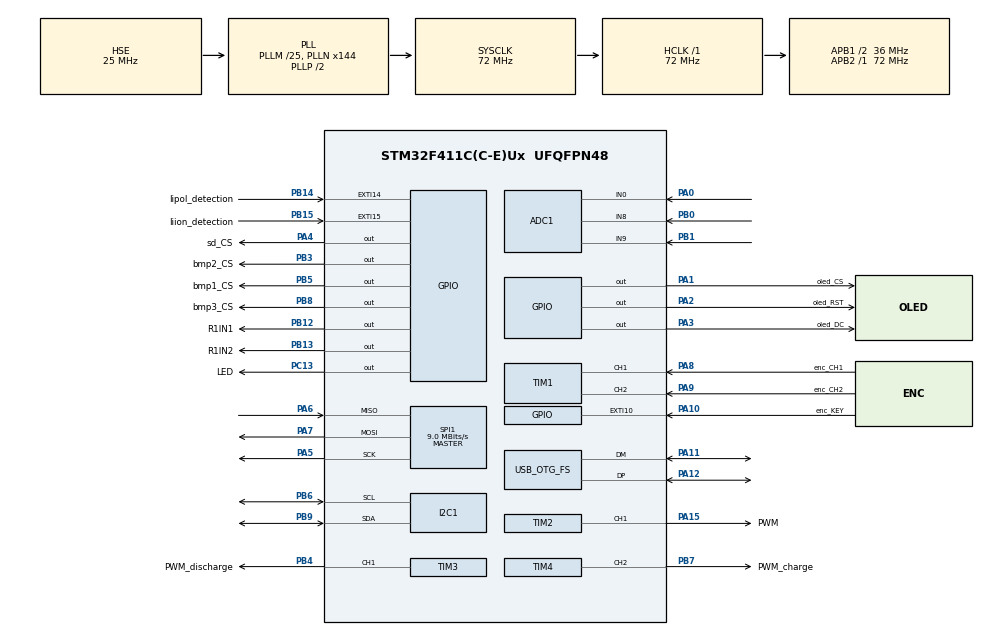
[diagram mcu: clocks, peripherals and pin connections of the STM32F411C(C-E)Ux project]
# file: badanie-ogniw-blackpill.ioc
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ADC1.Channel-0\#ChannelRegularConversion=ADC_CHANNEL_8
ADC1.Channel-1\#ChannelRegularConversion=ADC_CHANNEL_9
ADC1.DiscontinuousConvMode=ENABLE
ADC1.NbrOfConversion=2
ADC1.NbrOfConversionFlag=1
ADC1.Rank-0\#ChannelRegularConversion=1
ADC1.Rank-1\#ChannelRegularConversion=2
ADC1.SamplingTime-0\#ChannelRegularConversion=ADC_SAMPLETIME_15CYCLES
ADC1.SamplingTime-1\#ChannelRegularConversion=ADC_SAMPLETIME_15CYCLES
ADC1.master=1
Dma.Request0=SPI1_TX
Dma.SPI1_TX.0.Direction=DMA_MEMORY_TO_PERIPH
Dma.SPI1_TX.0.FIFOMode=DMA_FIFOMODE_DISABLE
Dma.SPI1_TX.0.Instance=DMA2_Stream2
Dma.SPI1_TX.0.MemDataAlignment=DMA_MDATAALIGN_BYTE
Dma.SPI1_TX.0.MemInc=DMA_MINC_ENABLE
Dma.SPI1_TX.0.Mode=DMA_NORMAL
Dma.SPI1_TX.0.PeriphDataAlignment=DMA_PDATAALIGN_BYTE
Dma.SPI1_TX.0.PeriphInc=DMA_PINC_DISABLE
Dma.SPI1_TX.0.Priority=DMA_PRIORITY_LOW
FATFS._FS_EXFAT=1
FATFS._MAX_SS=4096
FATFS._USE_LFN=1
Mcu.Family=STM32F4
Mcu.Name=STM32F411C(C-E)Ux
Mcu.Package=UFQFPN48
NVIC.DMA2_Stream2_IRQn=true\:0\:0\:false\:false\:true\:false\:true\:true
NVIC.EXTI15_10_IRQn=true\:0\:0\:false\:false\:true\:true\:true\:true
NVIC.OTG_FS_IRQn=true\:0\:0\:false\:false\:true\:false\:true\:true
NVIC.PriorityGroup=NVIC_PRIORITYGROUP_4
NVIC.SPI1_IRQn=true\:0\:0\:false\:false\:true\:true\:true\:true
NVIC.TIM1_CC_IRQn=true\:0\:0\:false\:false\:true\:true\:true\:true
NVIC.TIM1_TRG_COM_TIM11_IRQn=true\:0\:0\:false\:false\:true\:true\:true\:true
NVIC.TIM4_IRQn=true\:0\:0\:false\:false\:true\:true\:true\:true
PA0-WKUP.Signal=ADCx_IN0
PA1.GPIO_Label=oled_CS
PA1.GPIO_PuPd=GPIO_PULLUP
PA1.PinState=GPIO_PIN_SET
PA1.Signal=GPIO_Output
PA10.GPIO_Label=enc_KEY
PA10.GPIO_ModeDefaultEXTI=GPIO_MODE_IT_FALLING
PA10.GPIO_PuPd=GPIO_PULLUP
PA10.Signal=GPXTI10
PA11.Mode=Device_Only
PA11.Signal=USB_OTG_FS_DM
PA12.Mode=Device_Only
PA12.Signal=USB_OTG_FS_DP
PA13.Mode=Serial_Wire
PA13.Signal=SYS_JTMS-SWDIO
PA14.Mode=Serial_Wire
PA14.Signal=SYS_JTCK-SWCLK
PA15.GPIO_Label=PWM
PA15.Signal=S_TIM2_CH1_ETR
PA2.GPIO_Label=oled_RST
PA2.Signal=GPIO_Output
PA3.GPIO_Label=oled_DC
PA3.Signal=GPIO_Output
PA4.GPIO_Label=sd_CS
PA4.GPIO_PuPd=GPIO_PULLUP
PA4.GPIO_Speed=GPIO_SPEED_FREQ_HIGH
PA4.PinState=GPIO_PIN_SET
PA4.Signal=GPIO_Output
PA5.Mode=Full_Duplex_Master
PA5.Signal=SPI1_SCK
PA6.Mode=Full_Duplex_Master
PA6.Signal=SPI1_MISO
PA7.Mode=Full_Duplex_Master
PA7.Signal=SPI1_MOSI
PA8.GPIO_Label=enc_CH1
PA8.Signal=S_TIM1_CH1
PA9.GPIO_Label=enc_CH2
PA9.Signal=S_TIM1_CH2
PB0.Signal=ADCx_IN8
PB1.Signal=ADCx_IN9
PB12.GPIO_Label=R1IN1
PB12.GPIO_PuPd=GPIO_PULLDOWN
PB12.PinState=GPIO_PIN_RESET
PB12.Signal=GPIO_Output
PB13.GPIO_Label=R1IN2
PB13.GPIO_PuPd=GPIO_PULLDOWN
PB13.PinState=GPIO_PIN_RESET
PB13.Signal=GPIO_Output
PB14.GPIO_Label=lipol_detection
PB14.GPIO_PuPd=GPIO_PULLUP
PB14.Signal=GPXTI14
PB15.GPIO_Label=liion_detection
PB15.GPIO_PuPd=GPIO_PULLUP
PB15.Signal=GPXTI15
PB3.GPIO_Label=bmp2_CS
PB3.GPIO_PuPd=GPIO_PULLUP
PB3.PinState=GPIO_PIN_SET
PB3.Signal=GPIO_Output
PB4.GPIO_Label=PWM_discharge
PB4.Signal=S_TIM3_CH1
PB5.GPIO_Label=bmp1_CS
PB5.GPIO_PuPd=GPIO_PULLUP
PB5.PinState=GPIO_PIN_SET
PB5.Signal=GPIO_Output
PB6.Mode=I2C
PB6.Signal=I2C1_SCL
PB7.GPIO_Label=PWM_charge
PB7.Signal=S_TIM4_CH2
PB8.GPIO_Label=bmp3_CS
PB8.GPIO_PuPd=GPIO_PULLUP
PB8.PinState=GPIO_PIN_SET
PB8.Signal=GPIO_Output
PB9.Mode=I2C
PB9.Signal=I2C1_SDA
PC13-ANTI_TAMP.GPIO_Label=LED
PC13-ANTI_TAMP.GPIO_PuPd=GPIO_NOPULL
PC13-ANTI_TAMP.PinState=GPIO_PIN_SET
PC13-ANTI_TAMP.Signal=GPIO_Output
PH0\ -\ OSC_IN.Mode=HSE-External-Oscillator
PH0\ -\ OSC_IN.Signal=RCC_OSC_IN
PH1\ -\ OSC_OUT.Mode=HSE-External-Oscillator
PH1\ -\ OSC_OUT.Signal=RCC_OSC_OUT
ProjectManager.HeapSize=0x200
ProjectManager.StackSize=0x400
ProjectManager.TargetToolchain=STM32CubeIDE
RCC.48MHZClocksFreq_Value=48000000
RCC.AHBFreq_Value=72000000
RCC.APB1CLKDivider=RCC_HCLK_DIV2
RCC.APB1Freq_Value=36000000
RCC.APB1TimFreq_Value=72000000
RCC.APB2Freq_Value=72000000
RCC.APB2TimFreq_Value=72000000
RCC.CortexFreq_Value=72000000
RCC.HCLKFreq_Value=72000000
RCC.HSE_VALUE=25000000
RCC.HSI_VALUE=16000000
RCC.LSE_VALUE=32768
RCC.PLLM=25
RCC.PLLN=144
RCC.PLLQ=3
RCC.SYSCLKFreq_VALUE=72000000
RCC.SYSCLKSource=RCC_SYSCLKSOURCE_PLLCLK
RCC.VCOOutputFreq_Value=144000000
SH.ADCx_IN0.0=ADC1_IN0,IN0
SH.ADCx_IN8.0=ADC1_IN8,IN8
SH.ADCx_IN9.0=ADC1_IN9,IN9
SH.S_TIM1_CH1.0=TIM1_CH1,Encoder_Interface
SH.S_TIM1_CH2.0=TIM1_CH2,Encoder_Interface
SH.S_TIM2_CH1_ETR.0=TIM2_CH1,PWM Generation1 CH1
SH.S_TIM3_CH1.0=TIM3_CH1,PWM Generation1 CH1
SH.S_TIM4_CH2.0=TIM4_CH2,PWM Generation2 CH2
SPI1.BaudRatePrescaler=SPI_BAUDRATEPRESCALER_8
SPI1.CalculateBaudRate=9.0 MBits/s
SPI1.Direction=SPI_DIRECTION_2LINES
SPI1.Mode=SPI_MODE_MASTER
SPI1.VirtualType=VM_MASTER
TIM1.EncoderMode=TIM_ENCODERMODE_TI12
TIM1.IC1Polarity=TIM_ICPOLARITY_FALLING
TIM1.IC2Polarity=TIM_ICPOLARITY_FALLING
TIM11.Period=499
TIM11.Prescaler=7199
TIM2.Channel-PWM\ Generation1\ CH1=TIM_CHANNEL_1
TIM2.Period=199
TIM2.Prescaler=71
TIM3.Channel-PWM\ Generation1\ CH1=TIM_CHANNEL_1
TIM3.Period=199
TIM3.Prescaler=71
TIM4.Channel-PWM\ Generation2\ CH2=TIM_CHANNEL_2
TIM4.Period=19999
TIM4.Prescaler=7199
USB_DEVICE.CLASS_NAME_FS=CDC
USB_DEVICE.VirtualMode=Cdc
USB_DEVICE.VirtualModeFS=Cdc_FS
USB_OTG_FS.VirtualMode=Device_Only
VP_FATFS_VS_Generic.Mode=User_defined
VP_TIM11_VS_ClockSourceINT.Mode=Enable_Timer
VP_TIM3_VS_ClockSourceINT.Mode=Internal
VP_TIM4_VS_ClockSourceINT.Mode=Internal
VP_USB_DEVICE_VS_USB_DEVICE_CDC_FS.Mode=CDC_FS
board=custom

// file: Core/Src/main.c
/* USER CODE BEGIN Header */
/**
  ******************************************************************************
  * @file           : main.c
  * @brief          : Main program body
  ******************************************************************************
  * @attention
  *
  * Copyright (c) 2025 STMicroelectronics.
  * All rights reserved.
  *
  * This software is licensed under terms that can be found in the LICENSE file
  * in the root directory of this software component.
  * If no LICENSE file comes with this software, it is provided AS-IS.
  *
  ******************************************************************************
  */

/* USER CODE END Header */
#include "main.h"
#include "adc.h"
#include "dma.h"
#include "fatfs.h"
#include "i2c.h"
#include "spi.h"
#include "tim.h"
#include "usb_device.h"
#include "gpio.h"

/* USER CODE BEGIN Includes */
#include "usbd_cdc_if.h"
#include "sensors/printf_to_uart.h"
#include "sensors/ILI9341_STM32_Driver.h"
#include "sensors/ILI9341_GFX.h"
#include "sensors/fonts.h"
#include "sensors/BMPXX80.h"
#include "sensors/sensirion_common.h"
#include "sensors/sgp30.h"
#include "logic/user_SDcard.h"
#include "logic/user_OLED.h"
#include "logic/user_fnc.h"

/* USER CODE END Includes */

/* USER CODE BEGIN PV */
struct state st = {
	.current_screen_type = MENU_MAIN,
	.menu_current_ptr = MENU_START,
	.sensor_current = SENSOR_FIRST,
	.battery_state = BATTERY_IDLE,  // BATTERY_IDLE = 0, BATTERY_CHARGING = 1, BATTERY_DISCHARGING = 2
	.auto_mode_current = AUTO_MODE,  // AUTO_MODE = 0, MANUAL_MODE = 1

	.screen_menu_ptr = 0,
	.screen_menu_current = 0,
	.battery_ptr = 0,
	.battery_current = 0,
	.status_ptr = 0,     // BATTERY_IDLE = 0, BATTERY_CHARGING = 1, BATTERY_DISCHARGING = 2
	.status_current = 0, // BATTERY_IDLE = 0, BATTERY_CHARGING = 1, BATTERY_DISCHARGING = 2
	.auto_mode_ptr = 0,     // AUTO_MODE = 0, MANUAL_MODE = 1
	.auto_mode_current = 0, // AUTO_MODE = 0, MANUAL_MODE = 1
	.enc_count = 0,
	.prev_enc_count = 0,
	.enc_offset = 0,
    .set_current_discharge = 0,      // prad rozłaowywania
    .set_current_discharge_prev = 0, // prad rozłaowywania
    .set_current_charge = 0,
    .set_current_charge_prev = 0,
    .get_current_charge = 0,
    .charge_end_current = 0.1,      // minimalny prad ladowania
    .charge_end_current_prev = 0.1, // minimalny prad ladowania
    .discharge_cutoff_voltage = 3.0,      // minimalne napiecie rozladowywania
    .discharge_cutoff_voltage_prev = 3.0, // minimalne napiecie rozladowywania

	.is_screen_menu = true,
	.screen_clear = true,
};
struct sensors s = {0};

const char* menu[SCREENS_MENU_NUM] = {
	"Start",
	//"Typ baterii",
	//"Prad adowania",
	"Min. prad adowania",
	"Min. napiecie roz.",
	"Prad rozadowania",
	"Status",
	"Tryb",
	"Stop"
};

const char* batteries[BATERYS_NUM] = {
	"Brak ogniwa",
	"Li-Ion",
	"Li-Pol"

};

const char* status[STATUS_NUM] = {
	"Bezczynny",
	"Ladowanie",
	"Rozadow."
};
const char* auto_mode[AUTO_MODE_NUM] = {
	"Automatyczny",
	"Jednorazowy"
};

/* USER CODE END PV */

void SystemClock_Config(void);

int main(void)
{

  /* MCU Configuration--------------------------------------------------------*/

  /* Reset of all peripherals, Initializes the Flash interface and the Systick. */
  HAL_Init();

  /* Configure the system clock */
  SystemClock_Config();

  /* Initialize all configured peripherals */
  MX_GPIO_Init();
  MX_DMA_Init();
  MX_ADC1_Init();
  MX_I2C1_Init();
  MX_SPI1_Init();
  MX_USB_DEVICE_Init();
  MX_TIM3_Init();
  MX_TIM4_Init();
  MX_FATFS_Init();
  MX_TIM1_Init();
  MX_TIM2_Init();
  MX_TIM11_Init();
  /* USER CODE BEGIN 2 */
	// OLED
  	HAL_GPIO_WritePin(GPIOC, GPIO_PIN_13, 0);

	ILI9341_Init();
	ILI9341_FillScreen(WHITE);

	// BMP x3
	for (uint8_t index = 0; index < BME_SENSOR_COUNT ; ++index) {
		if (!BME280_Init(&hspi1, BME280_TEMPERATURE_16BIT, BME280_PRESSURE_ULTRALOWPOWER, BME280_HUMINIDITY_ULTRAHIGH, BME280_FORCEDMODE, index)) {
			LOG_DEBUG("BMP280 sensor error\r\n");
		}
		else{
			LOG_DEBUG("BMP280 sensor ok\r\n");
		}
	}

	// SGP
	if (sgp_probe() != STATUS_OK) {
		LOG_DEBUG("SGP sensor error\r\n");
	}
	else {
		LOG_DEBUG("SGP sensor ok\r\n");
	}

	// TIMER
	HAL_TIM_Encoder_Start(&htim1, TIM_CHANNEL_ALL);
	HAL_TIM_Base_Start_IT(&htim4);
	HAL_TIM_Base_Start_IT(&htim11);
	HAL_TIM_PWM_Start(&htim3, TIM_CHANNEL_1);

	// oled options setup
	//OLED_options_init();

	LOG_DEBUG("Complete peripheral initialization\r\n");
	HAL_Delay(1000);
  	HAL_GPIO_WritePin(GPIOC, GPIO_PIN_13, 1);
  /* USER CODE END 2 */

  /* Infinite loop */
	while (1)
	{

    /* USER CODE BEGIN 3 */
		// stele probkowanie
		if (st._interrupt_flag == true && st.is_measurements_started == true) {
			read_sensors_data();	// batteries[BATERYS_NUM] = { jest pol a wykrywa ion

			// charging state
			handle_battery_state();

			// OLED
			OLED_manage();

			// SD
			//SDcardWriteData();

			// Transmit over usb
			LOG_DATA("%u,%u,"
		             "%.2f,%ld,%.2f,%ld,%.2f,%ld,%.2f,"
		             "%.2f,%.2f,%.2f,%.2f,"
		             "%i,%i,%i,%i,%i,%i\r\n",
					s.tvoc_ppb, s.co2_eq_ppm,
					s.BME280temperature[0], s.BME280pressure[0], s.BME280temperature[1], s.BME280pressure[1], s.BME280temperature[2], s.BME280pressure[2], s.BME280humidity,
					s.voltage, s.current, st.get_current_charge, st.set_current_discharge,
					st.battery_state, st.auto_mode_current, st.battery_current, st.is_measurements_started, st.discharge_relay, st.charge_relay);

			st._interrupt_flag = false;
		}
		// menu poczatkowe
		else if (st.is_measurements_started == false || st.screen_clear == true) {
			OLED_manage();
		}
		if (st._interrupt_flag == true && st.current_screen_type == SCREEN_MENU && st.menu_current == MENU_MAIN) {
			st._interrupt_flag = false;
			display_bottom_bar();
		}
	}
  /* USER CODE END 3 */
}

void SystemClock_Config(void)
{
  RCC_OscInitTypeDef RCC_OscInitStruct = {0};
  RCC_ClkInitTypeDef RCC_ClkInitStruct = {0};

  /** Configure the main internal regulator output voltage
  */
  __HAL_RCC_PWR_CLK_ENABLE();
  __HAL_PWR_VOLTAGESCALING_CONFIG(PWR_REGULATOR_VOLTAGE_SCALE1);

  /** Initializes the RCC Oscillators according to the specified parameters
  * in the RCC_OscInitTypeDef structure.
  */
  RCC_OscInitStruct.OscillatorType = RCC_OSCILLATORTYPE_HSE;
  RCC_OscInitStruct.HSEState = RCC_HSE_ON;
  RCC_OscInitStruct.PLL.PLLState = RCC_PLL_ON;
  RCC_OscInitStruct.PLL.PLLSource = RCC_PLLSOURCE_HSE;
  RCC_OscInitStruct.PLL.PLLM = 25;
  RCC_OscInitStruct.PLL.PLLN = 144;
  RCC_OscInitStruct.PLL.PLLP = RCC_PLLP_DIV2;
  RCC_OscInitStruct.PLL.PLLQ = 3;
  if (HAL_RCC_OscConfig(&RCC_OscInitStruct) != HAL_OK)
  {
    Error_Handler();
  }

  /** Initializes the CPU, AHB and APB buses clocks
  */
  RCC_ClkInitStruct.ClockType = RCC_CLOCKTYPE_HCLK|RCC_CLOCKTYPE_SYSCLK
                              |RCC_CLOCKTYPE_PCLK1|RCC_CLOCKTYPE_PCLK2;
  RCC_ClkInitStruct.SYSCLKSource = RCC_SYSCLKSOURCE_PLLCLK;
  RCC_ClkInitStruct.AHBCLKDivider = RCC_SYSCLK_DIV1;
  RCC_ClkInitStruct.APB1CLKDivider = RCC_HCLK_DIV2;
  RCC_ClkInitStruct.APB2CLKDivider = RCC_HCLK_DIV1;

  if (HAL_RCC_ClockConfig(&RCC_ClkInitStruct, FLASH_LATENCY_2) != HAL_OK)
  {
    Error_Handler();
  }
}

/* USER CODE BEGIN 4 */
void HAL_TIM_PeriodElapsedCallback(TIM_HandleTypeDef *htim) {
	// encoder
	if (htim->Instance == TIM11) {
	    int16_t raw = (int16_t)__HAL_TIM_GET_COUNTER(&htim1);
	    int16_t  pos = raw >> 2;   // /4

	    if (pos != st.enc_count)
	    {
	        st.enc_count = pos;
	        st.screen_clear = true;
	    }
	}
	// main loop sensor data
	if (htim == &htim4 /*&& st.is_measurements_started == true*/){
		if (st._interrupt_flag == true){
			LOG_DEBUG("Flaga _interrupt_flag jest juz 1\r\n");
		}
		else{
			st._interrupt_flag = true;
		}
	}
}

void HAL_GPIO_EXTI_Callback(uint16_t GPIO_Pin) {
    // Encoder Button
    if (GPIO_Pin == enc_KEY_Pin) {
        static uint32_t last_press_time = 0;
        uint32_t now = HAL_GetTick();

        // debounce
        if (now - last_press_time >= 500) {
            st.is_enc_pressed = true;
            st.screen_clear = true;
            last_press_time = now;
        }
    }
    // Set battery type based on the state of PB14 and PB15 pins
    else if (GPIO_Pin == GPIO_PIN_14 || GPIO_Pin == GPIO_PIN_15) {
        BATT_state();
    }
}

/* USER CODE END 4 */

void Error_Handler(void)
{
	__disable_irq();
	while (1)
	{
	}
}
